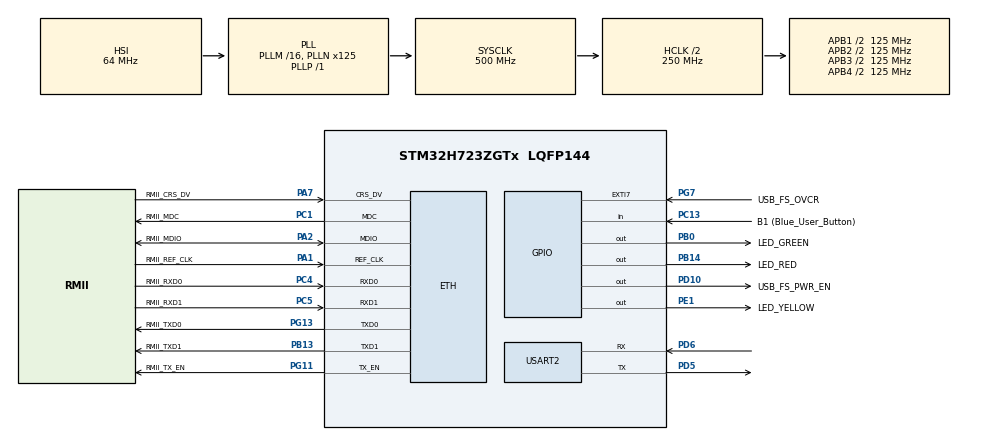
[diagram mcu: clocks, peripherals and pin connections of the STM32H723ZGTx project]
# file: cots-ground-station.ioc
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CORTEX_M7.AccessPermission_S-Cortex_Memory_Protection_Unit_Region1_Settings_S=MPU_REGION_FULL_ACCESS
CORTEX_M7.AccessPermission_S-Cortex_Memory_Protection_Unit_Region2_Settings_S=MPU_REGION_FULL_ACCESS
CORTEX_M7.BaseAddress_S-Cortex_Memory_Protection_Unit_Region1_Settings_S=0x30000000
CORTEX_M7.BaseAddress_S-Cortex_Memory_Protection_Unit_Region2_Settings_S=0x30000000
CORTEX_M7.CPU_DCache=Enabled
CORTEX_M7.CPU_ICache=Enabled
CORTEX_M7.DisableExec_S-Cortex_Memory_Protection_Unit_Region1_Settings_S=MPU_INSTRUCTION_ACCESS_DISABLE
CORTEX_M7.DisableExec_S-Cortex_Memory_Protection_Unit_Region2_Settings_S=MPU_INSTRUCTION_ACCESS_DISABLE
CORTEX_M7.Enable_S-Cortex_Memory_Protection_Unit_Region1_Settings_S=MPU_REGION_ENABLE
CORTEX_M7.Enable_S-Cortex_Memory_Protection_Unit_Region2_Settings_S=MPU_REGION_ENABLE
CORTEX_M7.IsBufferable_S-Cortex_Memory_Protection_Unit_Region2_Settings_S=MPU_ACCESS_BUFFERABLE
CORTEX_M7.IsShareable_S-Cortex_Memory_Protection_Unit_Region2_Settings_S=MPU_ACCESS_SHAREABLE
CORTEX_M7.Size_S-Cortex_Memory_Protection_Unit_Region1_Settings_S=MPU_REGION_SIZE_32KB
CORTEX_M7.Size_S-Cortex_Memory_Protection_Unit_Region2_Settings_S=MPU_REGION_SIZE_512B
CORTEX_M7.TypeExtField_S-Cortex_Memory_Protection_Unit_Region1_Settings_S=MPU_TEX_LEVEL1
CORTEX_M7.default_mode_Activation=1
ETH.MACAddr=00\:80\:E1\:F3\:6A\:32
ETH.MediaInterface=HAL_ETH_RMII_MODE
ETH.RxBuffAddress=0x30000200
ETH.RxBuffLen=1536
ETH.RxBufferAddress=0x30000200
ETH.TxDescAddress=0x30000100
FREERTOS.Tasks01=defaultTask,24,512,StartDefaultTask,Default,NULL,Dynamic,NULL,NULL
FREERTOS.configCHECK_FOR_STACK_OVERFLOW=1
FREERTOS.configMINIMAL_STACK_SIZE=512
FREERTOS.configTOTAL_HEAP_SIZE=64000
FREERTOS.configUSE_NEWLIB_REENTRANT=1
LWIP.BSP.number=1
LWIP.DEFAULT_THREAD_STACKSIZE=2048
LWIP.IP_ADDRESS=141.212.192.161
LWIP.IP_SOF_BROADCAST=1
LWIP.IP_SOF_BROADCAST_RECV=1
LWIP.LWIP_DHCP=0
LWIP.LWIP_RAM_HEAP_POINTER=0x30000200
LWIP.LWIP_TCPIP_CORE_LOCKING=0
LWIP.LWIP_TCPIP_TIMEOUT=1
LWIP.MEM_SIZE=32232
LWIP.NETMASK_ADDRESS=255.255.255.000
LWIP.TCPIP_THREAD_STACKSIZE=2048
LWIP.TCP_MSS=1460
LWIP.TCP_SND_BUF=5840
LWIP.TCP_SND_QUEUELEN=16
LWIP.Version=v2.1.2_Cube
LWIP0.BSP.STBoard=false
LWIP0.BSP.api=BSP_COMPONENT_DRIVER
LWIP0.BSP.component=LAN8742
LWIP0.BSP.instance=LAN8742
LWIP0.BSP.name=Driver_PHY
LWIP0.BSP.semaphore=S_LAN8742
LWIP0.BSP.solution=LAN8742
Mcu.Family=STM32H7
Mcu.Name=STM32H723ZGTx
Mcu.Package=LQFP144
NVIC.ETH_IRQn=true\:5\:0\:false\:false\:true\:true\:true\:true\:true
NVIC.PriorityGroup=NVIC_PRIORITYGROUP_4
NVIC.TIM6_DAC_IRQn=true\:15\:0\:false\:false\:true\:false\:false\:true\:true
NVIC.TimeBase=TIM6_DAC_IRQn
NVIC.TimeBaseIP=TIM6
NVIC.USART2_IRQn=true\:5\:0\:false\:false\:true\:true\:true\:true\:true
PA1.GPIO_Label=RMII_REF_CLK
PA1.GPIO_Speed=GPIO_SPEED_FREQ_VERY_HIGH
PA1.Mode=RMII
PA1.Signal=ETH_REF_CLK
PA10.GPIO_Label=USB_FS_ID
PA10.Signal=USB_OTG_HS_ID
PA13(JTMS/SWDIO).GPIO_Label=SWDIO
PA13(JTMS/SWDIO).Signal=DEBUG_JTMS-SWDIO
PA14(JTCK/SWCLK).GPIO_Label=SWCLK
PA14(JTCK/SWCLK).Signal=DEBUG_JTCK-SWCLK
PA2.GPIO_Label=RMII_MDIO
PA2.GPIO_Speed=GPIO_SPEED_FREQ_VERY_HIGH
PA2.Mode=RMII
PA2.Signal=ETH_MDIO
PA7.GPIO_Label=RMII_CRS_DV
PA7.GPIO_Speed=GPIO_SPEED_FREQ_VERY_HIGH
PA7.Mode=RMII
PA7.Signal=ETH_CRS_DV
PA9.GPIO_Label=USB_FS_VBUS
PA9.Signal=USB_OTG_HS_VBUS
PB0.GPIO_Label=LED_GREEN
PB0.Signal=GPIO_Output
PB13.GPIO_Label=RMII_TXD1
PB13.GPIO_Speed=GPIO_SPEED_FREQ_VERY_HIGH
PB13.Mode=RMII
PB13.Signal=ETH_TXD1
PB14.GPIO_Label=LED_RED
PB14.Signal=GPIO_Output
PB3(JTDO/TRACESWO).GPIO_Label=SWO
PB3(JTDO/TRACESWO).Signal=DEBUG_JTDO-SWO
PC1.GPIO_Label=RMII_MDC
PC1.GPIO_Speed=GPIO_SPEED_FREQ_VERY_HIGH
PC1.Mode=RMII
PC1.Signal=ETH_MDC
PC13.GPIO_Label=B1 (Blue_User_Button)
PC13.Signal=GPIO_Input
PC14-OSC32_IN.Signal=RCC_OSC32_IN
PC15-OSC32_OUT.Signal=RCC_OSC32_OUT
PC4.GPIO_Label=RMII_RXD0
PC4.GPIO_Speed=GPIO_SPEED_FREQ_VERY_HIGH
PC4.Mode=RMII
PC4.Signal=ETH_RXD0
PC5.GPIO_Label=RMII_RXD1
PC5.GPIO_Speed=GPIO_SPEED_FREQ_VERY_HIGH
PC5.Mode=RMII
PC5.Signal=ETH_RXD1
PD10.GPIO_Label=USB_FS_PWR_EN
PD10.Signal=GPIO_Output
PD5.Mode=Asynchronous
PD5.Signal=USART2_TX
PD6.Mode=Asynchronous
PD6.Signal=USART2_RX
PD8.GPIO_Label=STLK_VCP_RX
PD8.Signal=USART3_TX
PD9.GPIO_Label=STLK_VCP_TX
PD9.Signal=USART3_RX
PE1.GPIO_Label=LED_YELLOW
PE1.Signal=GPIO_Output
PG11.GPIO_Label=RMII_TX_EN
PG11.GPIO_Speed=GPIO_SPEED_FREQ_VERY_HIGH
PG11.Mode=RMII
PG11.Signal=ETH_TX_EN
PG13.GPIO_Label=RMII_TXD0
PG13.GPIO_Speed=GPIO_SPEED_FREQ_VERY_HIGH
PG13.Mode=RMII
PG13.Signal=ETH_TXD0
PG7.GPIO_Label=USB_FS_OVCR
PG7.Signal=GPXTI7
PH0-OSC_IN.GPIO_Label=MCO
PH0-OSC_IN.Signal=RCC_OSC_IN
PH1-OSC_OUT.Signal=RCC_OSC_OUT
ProjectManager.HeapSize=0x200
ProjectManager.StackSize=0x400
ProjectManager.TargetToolchain=STM32CubeIDE
RCC.ADCFreq_Value=608000000
RCC.APB1Freq_Value=125000000
RCC.APB2Freq_Value=125000000
RCC.APB3Freq_Value=125000000
RCC.APB4Freq_Value=125000000
RCC.CortexFreq_Value=500000000
RCC.D1PPRE=RCC_APB3_DIV2
RCC.D2PPRE1=RCC_APB1_DIV2
RCC.D2PPRE2=RCC_APB2_DIV2
RCC.D3PPRE=RCC_APB4_DIV2
RCC.DIVM1=16
RCC.DIVM2=1
RCC.DIVN1=125
RCC.DIVN2=19
RCC.DIVP1=1
RCC.DIVQ1=4
RCC.HCLKFreq_Value=250000000
RCC.HPRE=RCC_HCLK_DIV2
RCC.HSE_VALUE=8000000
RCC.PLLFRACN=0
RCC.SYSCLKFreq_VALUE=500000000
RCC.SYSCLKSource=RCC_SYSCLKSOURCE_PLLCLK
RCC.USBCLockSelection=RCC_USBCLKSOURCE_HSI48
RCC.USBFreq_Value=48000000
USART2.FIFOMode=FIFOMODE_ENABLE
USART2.VirtualMode-Asynchronous=VM_ASYNC
VP_FREERTOS_VS_CMSIS_V2.Mode=CMSIS_V2
VP_LWIP_VS_Enabled.Mode=Enabled
VP_MEMORYMAP_VS_MEMORYMAP.Mode=CurAppReg
VP_SYS_VS_tim6.Mode=TIM6
board=NUCLEO-H723ZG

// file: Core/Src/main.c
/* USER CODE BEGIN Header */
/**
  ******************************************************************************
  * @file           : main.c
  * @brief          : Main program body
  ******************************************************************************
  * @attention
  *
  * Copyright (c) 2022 STMicroelectronics.
  * All rights reserved.
  *
  * This software is licensed under terms that can be found in the LICENSE file
  * in the root directory of this software component.
  * If no LICENSE file comes with this software, it is provided AS-IS.
  *
  ******************************************************************************
  */
/* USER CODE END Header */
#include "main.h"
#include "cmsis_os.h"
#include "lwip.h"

/* USER CODE BEGIN Includes */
/* ETH_CODE: add lwiperf, see comment in StartDefaultTask function */
#include "udptelemetry.h"
#include "uart-data-struct.h"
/* USER CODE END Includes */

UART_HandleTypeDef huart2;

/* Definitions for defaultTask */
osThreadId_t defaultTaskHandle;
const osThreadAttr_t defaultTask_attributes = {
  .name = "defaultTask",
  .stack_size = 512 * 4,
  .priority = (osPriority_t) osPriorityNormal,
};
/* USER CODE BEGIN PV */
osThreadId_t telemetrySendTaskHandle;
const osThreadAttr_t telemetry_send_task_attr = {
  .name = "telemSendTask",
  .stack_size = 512 * 4,
  .priority = (osPriority_t) osPriorityNormal,
};

uint8_t uart_packet[UART_PACKET_LENGTH];
size_t uart_packet_size;
uint8_t next_uart_byte;
SemaphoreHandle_t uart_semaphore;
uint32_t last_uart_byte;
/* USER CODE END PV */

void SystemClock_Config(void);
static void MPU_Config(void);
static void MX_GPIO_Init(void);
static void MX_USART2_UART_Init(void);
void StartDefaultTask(void *argument);

/* USER CODE BEGIN 0 */
void __malloc_lock(struct _reent *r) {
    if(xTaskGetSchedulerState() != taskSCHEDULER_NOT_STARTED) {
        vTaskSuspendAll();
    }
}

void __malloc_unlock(struct _reent *r) {
    if(xTaskGetSchedulerState() != taskSCHEDULER_NOT_STARTED) {
        (void)xTaskResumeAll();
    }
}
/* USER CODE END 0 */

int main(void)
{

  /* USER CODE BEGIN 1 */
	uart_packet_size = 0;
  /* USER CODE END 1 */

  /* MPU Configuration--------------------------------------------------------*/
  MPU_Config();

  /* Enable the CPU Cache */

  /* Enable I-Cache---------------------------------------------------------*/
  SCB_EnableICache();

  /* Enable D-Cache---------------------------------------------------------*/
  SCB_EnableDCache();

  /* MCU Configuration--------------------------------------------------------*/

  /* Reset of all peripherals, Initializes the Flash interface and the Systick. */
  HAL_Init();

  /* Configure the system clock */
  SystemClock_Config();

  /* Initialize all configured peripherals */
  MX_GPIO_Init();
  MX_USART2_UART_Init();

  /* Init scheduler */
  osKernelInitialize();

  /* USER CODE BEGIN RTOS_SEMAPHORES */
  /* add semaphores, ... */
  telemetry_setup();
  uart_semaphore = xSemaphoreCreateBinary();
  xSemaphoreTake(uart_semaphore, 0);
  /* USER CODE END RTOS_SEMAPHORES */

  /* Create the thread(s) */
  /* creation of defaultTask */
  defaultTaskHandle = osThreadNew(StartDefaultTask, NULL, &defaultTask_attributes);

  /* Start scheduler */
  osKernelStart();

  /* We should never get here as control is now taken by the scheduler */

  /* Infinite loop */
  while (1)
  {

  }
}

void SystemClock_Config(void)
{
  RCC_OscInitTypeDef RCC_OscInitStruct = {0};
  RCC_ClkInitTypeDef RCC_ClkInitStruct = {0};

  /** Supply configuration update enable
  */
  HAL_PWREx_ConfigSupply(PWR_LDO_SUPPLY);

  /** Configure the main internal regulator output voltage
  */
  __HAL_PWR_VOLTAGESCALING_CONFIG(PWR_REGULATOR_VOLTAGE_SCALE0);

  while(!__HAL_PWR_GET_FLAG(PWR_FLAG_VOSRDY)) {}

  /** Initializes the RCC Oscillators according to the specified parameters
  * in the RCC_OscInitTypeDef structure.
  */
  RCC_OscInitStruct.OscillatorType = RCC_OSCILLATORTYPE_HSI;
  RCC_OscInitStruct.HSIState = RCC_HSI_DIV1;
  RCC_OscInitStruct.HSICalibrationValue = 64;
  RCC_OscInitStruct.PLL.PLLState = RCC_PLL_ON;
  RCC_OscInitStruct.PLL.PLLSource = RCC_PLLSOURCE_HSI;
  RCC_OscInitStruct.PLL.PLLM = 16;
  RCC_OscInitStruct.PLL.PLLN = 125;
  RCC_OscInitStruct.PLL.PLLP = 1;
  RCC_OscInitStruct.PLL.PLLQ = 4;
  RCC_OscInitStruct.PLL.PLLR = 2;
  RCC_OscInitStruct.PLL.PLLRGE = RCC_PLL1VCIRANGE_2;
  RCC_OscInitStruct.PLL.PLLVCOSEL = RCC_PLL1VCOWIDE;
  RCC_OscInitStruct.PLL.PLLFRACN = 0;
  if (HAL_RCC_OscConfig(&RCC_OscInitStruct) != HAL_OK)
  {
    Error_Handler();
  }

  /** Initializes the CPU, AHB and APB buses clocks
  */
  RCC_ClkInitStruct.ClockType = RCC_CLOCKTYPE_HCLK|RCC_CLOCKTYPE_SYSCLK
                              |RCC_CLOCKTYPE_PCLK1|RCC_CLOCKTYPE_PCLK2
                              |RCC_CLOCKTYPE_D3PCLK1|RCC_CLOCKTYPE_D1PCLK1;
  RCC_ClkInitStruct.SYSCLKSource = RCC_SYSCLKSOURCE_PLLCLK;
  RCC_ClkInitStruct.SYSCLKDivider = RCC_SYSCLK_DIV1;
  RCC_ClkInitStruct.AHBCLKDivider = RCC_HCLK_DIV2;
  RCC_ClkInitStruct.APB3CLKDivider = RCC_APB3_DIV2;
  RCC_ClkInitStruct.APB1CLKDivider = RCC_APB1_DIV2;
  RCC_ClkInitStruct.APB2CLKDivider = RCC_APB2_DIV2;
  RCC_ClkInitStruct.APB4CLKDivider = RCC_APB4_DIV2;

  if (HAL_RCC_ClockConfig(&RCC_ClkInitStruct, FLASH_LATENCY_3) != HAL_OK)
  {
    Error_Handler();
  }
}

static void MX_USART2_UART_Init(void)
{

  huart2.Instance = USART2;
  huart2.Init.BaudRate = 115200;
  huart2.Init.WordLength = UART_WORDLENGTH_8B;
  huart2.Init.StopBits = UART_STOPBITS_1;
  huart2.Init.Parity = UART_PARITY_NONE;
  huart2.Init.Mode = UART_MODE_TX_RX;
  huart2.Init.HwFlowCtl = UART_HWCONTROL_NONE;
  huart2.Init.OverSampling = UART_OVERSAMPLING_16;
  huart2.Init.OneBitSampling = UART_ONE_BIT_SAMPLE_DISABLE;
  huart2.Init.ClockPrescaler = UART_PRESCALER_DIV1;
  huart2.AdvancedInit.AdvFeatureInit = UART_ADVFEATURE_NO_INIT;
  if (HAL_UART_Init(&huart2) != HAL_OK)
  {
    Error_Handler();
  }
  if (HAL_UARTEx_SetTxFifoThreshold(&huart2, UART_TXFIFO_THRESHOLD_1_8) != HAL_OK)
  {
    Error_Handler();
  }
  if (HAL_UARTEx_SetRxFifoThreshold(&huart2, UART_RXFIFO_THRESHOLD_1_8) != HAL_OK)
  {
    Error_Handler();
  }
  if (HAL_UARTEx_EnableFifoMode(&huart2) != HAL_OK)
  {
    Error_Handler();
  }

}

static void MX_GPIO_Init(void)
{
  GPIO_InitTypeDef GPIO_InitStruct = {0};

  /* GPIO Ports Clock Enable */
  __HAL_RCC_GPIOC_CLK_ENABLE();
  __HAL_RCC_GPIOH_CLK_ENABLE();
  __HAL_RCC_GPIOA_CLK_ENABLE();
  __HAL_RCC_GPIOB_CLK_ENABLE();
  __HAL_RCC_GPIOD_CLK_ENABLE();
  __HAL_RCC_GPIOG_CLK_ENABLE();
  __HAL_RCC_GPIOE_CLK_ENABLE();

  /*Configure GPIO pin Output Level */
  HAL_GPIO_WritePin(GPIOB, LED_GREEN_Pin|LED_RED_Pin, GPIO_PIN_RESET);

  /*Configure GPIO pin Output Level */
  HAL_GPIO_WritePin(USB_FS_PWR_EN_GPIO_Port, USB_FS_PWR_EN_Pin, GPIO_PIN_RESET);

  /*Configure GPIO pin Output Level */
  HAL_GPIO_WritePin(LED_YELLOW_GPIO_Port, LED_YELLOW_Pin, GPIO_PIN_RESET);

  /*Configure GPIO pin : B1_Pin */
  GPIO_InitStruct.Pin = B1_Pin;
  GPIO_InitStruct.Mode = GPIO_MODE_INPUT;
  GPIO_InitStruct.Pull = GPIO_NOPULL;
  HAL_GPIO_Init(B1_GPIO_Port, &GPIO_InitStruct);

  /*Configure GPIO pins : LED_GREEN_Pin LED_RED_Pin */
  GPIO_InitStruct.Pin = LED_GREEN_Pin|LED_RED_Pin;
  GPIO_InitStruct.Mode = GPIO_MODE_OUTPUT_PP;
  GPIO_InitStruct.Pull = GPIO_NOPULL;
  GPIO_InitStruct.Speed = GPIO_SPEED_FREQ_LOW;
  HAL_GPIO_Init(GPIOB, &GPIO_InitStruct);

  /*Configure GPIO pins : STLK_VCP_RX_Pin STLK_VCP_TX_Pin */
  GPIO_InitStruct.Pin = STLK_VCP_RX_Pin|STLK_VCP_TX_Pin;
  GPIO_InitStruct.Mode = GPIO_MODE_AF_PP;
  GPIO_InitStruct.Pull = GPIO_NOPULL;
  GPIO_InitStruct.Speed = GPIO_SPEED_FREQ_LOW;
  GPIO_InitStruct.Alternate = GPIO_AF7_USART3;
  HAL_GPIO_Init(GPIOD, &GPIO_InitStruct);

  /*Configure GPIO pin : USB_FS_PWR_EN_Pin */
  GPIO_InitStruct.Pin = USB_FS_PWR_EN_Pin;
  GPIO_InitStruct.Mode = GPIO_MODE_OUTPUT_PP;
  GPIO_InitStruct.Pull = GPIO_NOPULL;
  GPIO_InitStruct.Speed = GPIO_SPEED_FREQ_LOW;
  HAL_GPIO_Init(USB_FS_PWR_EN_GPIO_Port, &GPIO_InitStruct);

  /*Configure GPIO pin : USB_FS_OVCR_Pin */
  GPIO_InitStruct.Pin = USB_FS_OVCR_Pin;
  GPIO_InitStruct.Mode = GPIO_MODE_IT_RISING;
  GPIO_InitStruct.Pull = GPIO_NOPULL;
  HAL_GPIO_Init(USB_FS_OVCR_GPIO_Port, &GPIO_InitStruct);

  /*Configure GPIO pin : USB_FS_ID_Pin */
  GPIO_InitStruct.Pin = USB_FS_ID_Pin;
  GPIO_InitStruct.Mode = GPIO_MODE_AF_PP;
  GPIO_InitStruct.Pull = GPIO_NOPULL;
  GPIO_InitStruct.Speed = GPIO_SPEED_FREQ_LOW;
  GPIO_InitStruct.Alternate = GPIO_AF10_OTG1_HS;
  HAL_GPIO_Init(USB_FS_ID_GPIO_Port, &GPIO_InitStruct);

  /*Configure GPIO pin : LED_YELLOW_Pin */
  GPIO_InitStruct.Pin = LED_YELLOW_Pin;
  GPIO_InitStruct.Mode = GPIO_MODE_OUTPUT_PP;
  GPIO_InitStruct.Pull = GPIO_NOPULL;
  GPIO_InitStruct.Speed = GPIO_SPEED_FREQ_LOW;
  HAL_GPIO_Init(LED_YELLOW_GPIO_Port, &GPIO_InitStruct);

}

/* USER CODE BEGIN 4 */

void irq_uart_lilygo() {
	if(HAL_GetTick() - last_uart_byte > 100) {
		uart_packet_size = 0;
	}
	BaseType_t xHigherPriorityTaskWoken = pdFALSE;
	uart_packet[uart_packet_size++] = next_uart_byte;
	if(uart_packet_size == UART_PACKET_LENGTH) {
		uart_packet_size = 0;
		xSemaphoreGiveFromISR(uart_semaphore, &xHigherPriorityTaskWoken);
	}
	last_uart_byte = HAL_GetTick();
	HAL_UART_Receive_IT(&huart2, &next_uart_byte, 1);
}

void HAL_UART_RxCpltCallback(UART_HandleTypeDef *huart) {
    if(huart->Instance == USART2) {
    	irq_uart_lilygo();
    }
}

void HAL_UART_ErrorCallback(UART_HandleTypeDef *huart) {
    if(huart->Instance == USART2) {
    	last_uart_byte = HAL_GetTick();
    	HAL_UART_Receive_IT(&huart2, &next_uart_byte, 1);
    }
}
/* USER CODE END 4 */

void StartDefaultTask(void *argument)
{
  /* init code for LWIP */
  MX_LWIP_Init();
  /* USER CODE BEGIN 5 */

  telemetrySendTaskHandle = osThreadNew(TelemetrySend, NULL, &telemetry_send_task_attr);

  last_uart_byte = HAL_GetTick();
  HAL_UART_Receive_IT(&huart2, &next_uart_byte, 1);

  for(;;) {
	  if(xSemaphoreTake(uart_semaphore, 1000) == pdPASS) {
		  UART_Data_t uart_data = {0};
		  if(deserialize_radio(&uart_data, uart_packet, UART_PACKET_LENGTH) > 0) {
			  Message telem_msg = {0};
			  telem_msg.type = MSG_TELEMETRY;
			  telem_msg.data.telemetry.board_id = BOARD_GS;
			  telem_msg.data.telemetry.num_channels = GS_TELEMETRY_CHANNELS;
			  telem_msg.data.telemetry.telemetry_data[GS_GPS_LAT] = uart_data.gps_lat;
			  telem_msg.data.telemetry.telemetry_data[GS_GPS_LONG] = uart_data.gps_long;
			  telem_msg.data.telemetry.telemetry_data[GS_GPS_ALT] = uart_data.gps_alt;
			  telem_msg.data.telemetry.telemetry_data[GS_IMU_X] = ((float) uart_data.fc_imu_x) / 100.0;
			  telem_msg.data.telemetry.telemetry_data[GS_IMU_Y] = ((float) uart_data.fc_imu_y) / 100.0;
			  telem_msg.data.telemetry.telemetry_data[GS_IMU_Z] = ((float) uart_data.fc_imu_z) / 100.0;
			  telem_msg.data.telemetry.telemetry_data[GS_IMU_W_X] = uart_data.fc_w_x;
			  telem_msg.data.telemetry.telemetry_data[GS_IMU_W_Y] = uart_data.fc_w_y;
			  telem_msg.data.telemetry.telemetry_data[GS_IMU_W_Z] = uart_data.fc_w_z;
			  telem_msg.data.telemetry.telemetry_data[GS_BAR_1] = ((float) uart_data.fc_bar1) / 10.0;
			  telem_msg.data.telemetry.telemetry_data[GS_BAR_2] = ((float) uart_data.fc_bar2) / 10.0;
			  telem_msg.data.telemetry.telemetry_data[GS_24V] = ((float) uart_data.fc_24v) / 1000.0;
			  telem_msg.data.telemetry.telemetry_data[GS_FC_TEMP] = uart_data.fc_temp;
			  telem_msg.data.telemetry.telemetry_data[GS_FSM] = uart_data.fc_fsm_state;
			  telem_msg.data.telemetry.telemetry_data[GS_FLUCTUS] = uart_data.fc_flutus;
			  telem_msg.data.telemetry.telemetry_data[GS_CHAMBER_PRES] = uart_data.chamber_pres;
			  telem_msg.data.telemetry.telemetry_data[GS_FUEL_PRES] = uart_data.fuel_pres;
			  telem_msg.data.telemetry.telemetry_data[GS_OX_PRES] = uart_data.ox_pres;
			  telem_msg.data.telemetry.telemetry_data[GS_COPV_PRES] = uart_data.copv_pres;
			  telem_msg.data.telemetry.telemetry_data[GS_RECOVERY_PRES] = uart_data.recovery_pres;
			  telem_msg.data.telemetry.telemetry_data[GS_RSSI] = uart_data.rssi;
			  telem_msg.data.telemetry.telemetry_data[GS_SNR] = uart_data.snr;

			  telem_msg.data.telemetry.timestamp = ((uint64_t) uart_data.ms_epoch) * 1e6;

			  broadcast_telem_msg(&telem_msg, 5);
		  }
	  }
	  osDelay(1);
  }
  /* USER CODE END 5 */
}

 /* MPU Configuration */

void MPU_Config(void)
{
  MPU_Region_InitTypeDef MPU_InitStruct = {0};

  /* Disables the MPU */
  HAL_MPU_Disable();

  /** Initializes and configures the Region and the memory to be protected
  */
  MPU_InitStruct.Enable = MPU_REGION_ENABLE;
  MPU_InitStruct.Number = MPU_REGION_NUMBER0;
  MPU_InitStruct.BaseAddress = 0x0;
  MPU_InitStruct.Size = MPU_REGION_SIZE_4GB;
  MPU_InitStruct.SubRegionDisable = 0x87;
  MPU_InitStruct.TypeExtField = MPU_TEX_LEVEL0;
  MPU_InitStruct.AccessPermission = MPU_REGION_NO_ACCESS;
  MPU_InitStruct.DisableExec = MPU_INSTRUCTION_ACCESS_DISABLE;
  MPU_InitStruct.IsShareable = MPU_ACCESS_SHAREABLE;
  MPU_InitStruct.IsCacheable = MPU_ACCESS_NOT_CACHEABLE;
  MPU_InitStruct.IsBufferable = MPU_ACCESS_NOT_BUFFERABLE;

  HAL_MPU_ConfigRegion(&MPU_InitStruct);

  /** Initializes and configures the Region and the memory to be protected
  */
  MPU_InitStruct.Number = MPU_REGION_NUMBER1;
  MPU_InitStruct.BaseAddress = 0x30000000;
  MPU_InitStruct.Size = MPU_REGION_SIZE_32KB;
  MPU_InitStruct.SubRegionDisable = 0x0;
  MPU_InitStruct.TypeExtField = MPU_TEX_LEVEL1;
  MPU_InitStruct.AccessPermission = MPU_REGION_FULL_ACCESS;
  MPU_InitStruct.IsShareable = MPU_ACCESS_NOT_SHAREABLE;

  HAL_MPU_ConfigRegion(&MPU_InitStruct);

  /** Initializes and configures the Region and the memory to be protected
  */
  MPU_InitStruct.Number = MPU_REGION_NUMBER2;
  MPU_InitStruct.Size = MPU_REGION_SIZE_512B;
  MPU_InitStruct.TypeExtField = MPU_TEX_LEVEL0;
  MPU_InitStruct.IsShareable = MPU_ACCESS_SHAREABLE;
  MPU_InitStruct.IsBufferable = MPU_ACCESS_BUFFERABLE;

  HAL_MPU_ConfigRegion(&MPU_InitStruct);
  /* Enables the MPU */
  HAL_MPU_Enable(MPU_PRIVILEGED_DEFAULT);

}

void HAL_TIM_PeriodElapsedCallback(TIM_HandleTypeDef *htim)
{
  if (htim->Instance == TIM6)
  {
    HAL_IncTick();
  }
}

void Error_Handler(void)
{
  __disable_irq();
  while (1)
  {
  }
}
